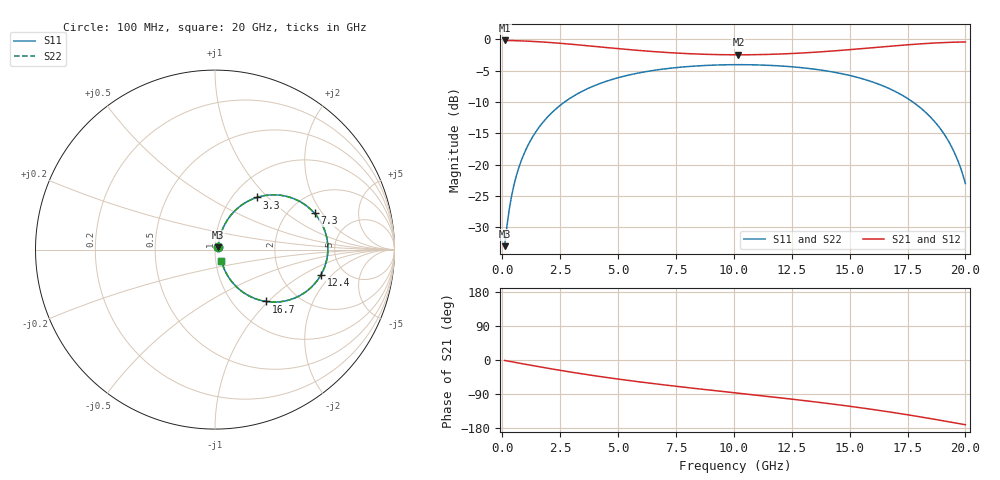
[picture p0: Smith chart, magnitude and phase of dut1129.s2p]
! Touchstone file exported from HFSS 2026.1.0
!  File:  C:/ffzhzh/LocalFiles/Ansys_Project_Files/temp_train_TSV_RDL_1129_1783307389_39728.aedt
!  Generated:  11:18:39 AM Jul  6, 2026
!  Design:  TSV_RDL
!  Project:  temp_train_TSV_RDL_1129_1783307389_39728
! Variables:
!  h_bsmrdl = 3.44um
!  h_ox = 20um
!  h_rdl = 5um
!  h_sub = 75.14um
!  h_tmrdl = 5.07um
!  h_tsv = 75.14um
!  h_via = 3um
!  l_bsmrdl = 370.16um
!  l_sub = 2842um
!  l_tmrdl = 314.46um
!  m_sub = 200um
!  pitch = 49.91um
!  r_tsv = 8.09um
!  s_tmrdl = 10um
!  w_bsmrdl = 12.13um
!  w_sub = 500um
!  w_tmrdl = 12.43um
!  x_tsv_center1 = 320.675um
!  x_tsv_center2 = 702.965um
!  x_tsv_center3 = 1029.855um
!  x_tsv_center4 = 1412.145um
!  x_tsv_center5 = 1739.035um
!  x_tsv_center6 = 2121.325um
# GHz S MA R 50.000000
! Terminal data exported
! Port[1] = TM_RDL1_1_T1
! Port[2] = TM_RDL5_1_T1
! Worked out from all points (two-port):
!   200 points, 100 MHz to 20 GHz, reference 50 ohm
!   highest |S21| = -0.16 dB at 100 MHz (marker M1); lowest = -2.5 dB at 10.2 GHz (marker M2)
!   |S21| within 3 dB of the highest: start of sweep to end of sweep
!   lowest |S11| = -33.0 dB at 100 MHz (marker M3), VSWR 1.05, Z = 51.8 + j1.35 ohm
!   |S11| at or under -10 dB: start of sweep to 2.688 GHz; 17.73 GHz to end of sweep
!   |S22| runs from -33.0 to -4.0 dB; largest |S21 - S12| = 2.6e-14
!   S11 on the Smith chart (normalised r, x): 100 MHz: 1.04, +0.03; 3.3 GHz: 1.28, +0.86; 7.3 GHz: 2.73, +1.69; 12.4 GHz: 3.38, -1.50; 16.7 GHz: 1.40, -0.97; 20 GHz: 1.07, -0.13
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0.1  0.0223 35.7  0.9821 -1.2  0.9821 -1.2  0.0223 35.7
! Gamma 0 0 0 0
! Port Impedance 50 0 50 0
0.3  0.04383 61.7  0.9808 -3.5  0.9808 -3.5  0.04383 61.7
0.5  0.06827 68.0  0.9787 -5.7  0.9787 -5.7  0.06827 68.0
0.8  0.1052 69.9  0.9745 -9.1  0.9745 -9.1  0.1052 69.9
1.1  0.1415 69.2  0.9693 -12.4  0.9693 -12.4  0.1415 69.2
1.5  0.1888 66.7  0.9608 -16.8  0.9608 -16.8  0.1888 66.7
2  0.2451 62.7  0.9476 -22.1  0.9476 -22.1  0.2451 62.7
3.3  0.3727 51.3  0.9048 -35.2  0.9048 -35.2  0.3727 51.3
3.5  0.3896 49.5  0.8976 -37.1  0.8976 -37.1  0.3896 49.5
5  0.4947 36.9  0.8449 -50.3  0.8449 -50.3  0.4947 36.9
6.8  0.5754 23.5  0.7937 -64.3  0.7937 -64.3  0.5754 23.5
7.3  0.5906 20.0  0.783 -67.9  0.783 -67.9  0.5906 20.0
10.1  0.6289 1.6  0.7542 -87.0  0.7542 -87.0  0.629 1.6
10.2  0.629 1.0  0.7542 -87.7  0.7542 -87.7  0.629 1.0
12.4  0.6072 -13.3  0.7706 -102.6  0.7706 -102.6  0.6072 -13.3
13.4  0.5816 -20.2  0.7886 -109.7  0.7886 -109.7  0.5817 -20.2
15.2  0.5054 -33.3  0.8349 -123.7  0.8349 -123.7  0.5054 -33.4
16.7  0.4061 -45.4  0.882 -136.9  0.882 -136.9  0.4061 -45.4
17.9  0.3003 -55.4  0.9182 -148.5  0.9182 -148.5  0.3003 -55.4
18.8  0.2067 -62.1  0.9398 -157.8  0.9398 -157.8  0.2067 -62.1
19.5  0.1277 -64.7  0.951 -165.4  0.951 -165.4  0.1277 -64.7
20  0.07066 -59.7  0.9553 -170.8  0.9553 -170.8  0.07064 -59.8
